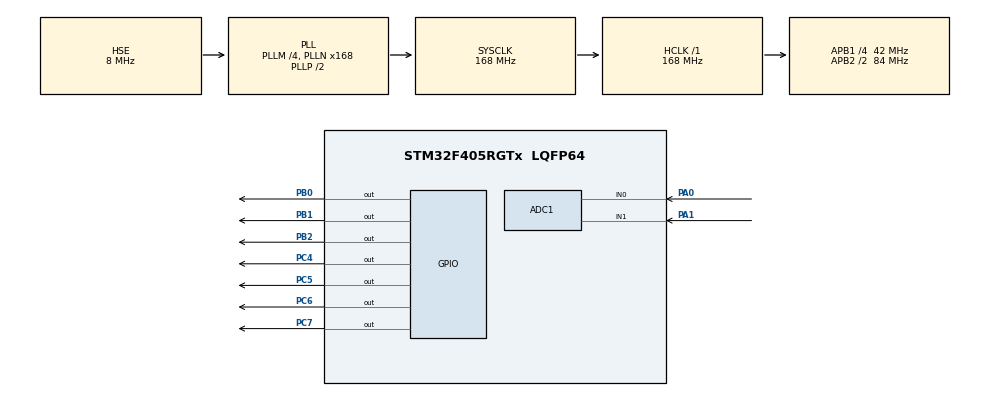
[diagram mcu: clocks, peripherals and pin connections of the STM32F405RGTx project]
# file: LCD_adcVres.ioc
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ADC1.Channel-2\#ChannelRegularConversion=ADC_CHANNEL_0
ADC1.Channel-3\#ChannelRegularConversion=ADC_CHANNEL_1
ADC1.ContinuousConvMode=ENABLE
ADC1.DMAContinuousRequests=ENABLE
ADC1.NbrOfConversion=2
ADC1.NbrOfConversionFlag=1
ADC1.Rank-2\#ChannelRegularConversion=1
ADC1.Rank-3\#ChannelRegularConversion=2
ADC1.SamplingTime-2\#ChannelRegularConversion=ADC_SAMPLETIME_56CYCLES
ADC1.SamplingTime-3\#ChannelRegularConversion=ADC_SAMPLETIME_56CYCLES
ADC1.ScanConvMode=ENABLE
ADC1.master=1
Dma.ADC1.0.Direction=DMA_PERIPH_TO_MEMORY
Dma.ADC1.0.FIFOMode=DMA_FIFOMODE_DISABLE
Dma.ADC1.0.Instance=DMA2_Stream0
Dma.ADC1.0.MemDataAlignment=DMA_MDATAALIGN_HALFWORD
Dma.ADC1.0.MemInc=DMA_MINC_ENABLE
Dma.ADC1.0.Mode=DMA_CIRCULAR
Dma.ADC1.0.PeriphDataAlignment=DMA_PDATAALIGN_HALFWORD
Dma.ADC1.0.PeriphInc=DMA_PINC_DISABLE
Dma.ADC1.0.Priority=DMA_PRIORITY_LOW
Dma.Request0=ADC1
Mcu.Family=STM32F4
Mcu.Name=STM32F405RGTx
Mcu.Package=LQFP64
NVIC.DMA2_Stream0_IRQn=true\:0\:0\:false\:false\:true\:false\:true
NVIC.PriorityGroup=NVIC_PRIORITYGROUP_4
PA0-WKUP.Signal=ADCx_IN0
PA1.Signal=ADCx_IN1
PA13.Mode=Serial_Wire
PA13.Signal=SYS_JTMS-SWDIO
PA14.Mode=Serial_Wire
PA14.Signal=SYS_JTCK-SWCLK
PB0.Signal=GPIO_Output
PB1.Signal=GPIO_Output
PB2.Signal=GPIO_Output
PC4.Signal=GPIO_Output
PC5.Signal=GPIO_Output
PC6.Signal=GPIO_Output
PC7.Signal=GPIO_Output
PH0-OSC_IN.Mode=HSE-External-Oscillator
PH0-OSC_IN.Signal=RCC_OSC_IN
PH1-OSC_OUT.Mode=HSE-External-Oscillator
PH1-OSC_OUT.Signal=RCC_OSC_OUT
ProjectManager.HeapSize=0x200
ProjectManager.StackSize=0x400
ProjectManager.TargetToolchain=EWARM V8.32
RCC.48MHZClocksFreq_Value=84000000
RCC.AHBFreq_Value=168000000
RCC.APB1CLKDivider=RCC_HCLK_DIV4
RCC.APB1Freq_Value=42000000
RCC.APB1TimFreq_Value=84000000
RCC.APB2CLKDivider=RCC_HCLK_DIV2
RCC.APB2Freq_Value=84000000
RCC.APB2TimFreq_Value=168000000
RCC.CortexFreq_Value=168000000
RCC.HCLKFreq_Value=168000000
RCC.HSE_VALUE=8000000
RCC.HSI_VALUE=16000000
RCC.LSE_VALUE=32768
RCC.PLLM=4
RCC.PLLN=168
RCC.PLLSourceVirtual=RCC_PLLSOURCE_HSE
RCC.SYSCLKFreq_VALUE=168000000
RCC.SYSCLKSource=RCC_SYSCLKSOURCE_PLLCLK
RCC.VCOOutputFreq_Value=336000000
SH.ADCx_IN0.0=ADC1_IN0,IN0
SH.ADCx_IN1.0=ADC1_IN1,IN1
board=custom

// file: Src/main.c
/* USER CODE BEGIN Header */
/**
  ******************************************************************************
  * @file           : main.c
  * @brief          : Main program body
  ******************************************************************************
  * @attention
  *
  * <h2><center>&copy; Copyright (c) 2020 STMicroelectronics.
  * All rights reserved.</center></h2>
  *
  * This software component is licensed by ST under BSD 3-Clause license,
  * the "License"; You may not use this file except in compliance with the
  * License. You may obtain a copy of the License at:
  *                        opensource.org/licenses/BSD-3-Clause
  *
  ******************************************************************************
  */
/* USER CODE END Header */

#include "main.h"
#include "adc.h"
#include "dma.h"
#include "gpio.h"

/* USER CODE BEGIN Includes */
#include "lcd.h"
#include "stdio.h"
/* USER CODE END Includes */

/* USER CODE BEGIN PV */
uint16_t adcData[2];
float v_temp = 0;
char str[10];
char str2[10];
/* USER CODE END PV */

void SystemClock_Config(void);

int main(void)
{

  /* MCU Configuration--------------------------------------------------------*/

  /* Reset of all peripherals, Initializes the Flash interface and the Systick. */
  HAL_Init();

  /* Configure the system clock */
  SystemClock_Config();

  /* Initialize all configured peripherals */
  MX_GPIO_Init();
  MX_DMA_Init();
  MX_ADC1_Init();
  /* USER CODE BEGIN 2 */
  HAL_ADC_Start_DMA(&hadc1, (uint32_t*)&adcData, sizeof(adcData)); // ADC Start
  /* USER CODE END 2 */

  /* Infinite loop */
  /* USER CODE BEGIN WHILE */
  while (1)
  {
    lcdClear();
    lcdGotoXY(0, 0);
    sprintf(str, "ADC : %d", adcData[0]);
    lcdPrint(str);

    v_temp = (float)adcData[1] * 33 / 4095;
    sprintf(str2, "Vres : %.2f", v_temp);
    lcdGotoXY(0, 1);
    lcdPrint(str2);
    HAL_Delay(500);
    /* USER CODE END WHILE */

  }
}

void SystemClock_Config(void)
{
  RCC_OscInitTypeDef RCC_OscInitStruct = {0};
  RCC_ClkInitTypeDef RCC_ClkInitStruct = {0};

  /** Configure the main internal regulator output voltage
  */
  __HAL_RCC_PWR_CLK_ENABLE();
  __HAL_PWR_VOLTAGESCALING_CONFIG(PWR_REGULATOR_VOLTAGE_SCALE1);
  /** Initializes the CPU, AHB and APB busses clocks
  */
  RCC_OscInitStruct.OscillatorType = RCC_OSCILLATORTYPE_HSE;
  RCC_OscInitStruct.HSEState = RCC_HSE_ON;
  RCC_OscInitStruct.PLL.PLLState = RCC_PLL_ON;
  RCC_OscInitStruct.PLL.PLLSource = RCC_PLLSOURCE_HSE;
  RCC_OscInitStruct.PLL.PLLM = 4;
  RCC_OscInitStruct.PLL.PLLN = 168;
  RCC_OscInitStruct.PLL.PLLP = RCC_PLLP_DIV2;
  RCC_OscInitStruct.PLL.PLLQ = 4;
  if (HAL_RCC_OscConfig(&RCC_OscInitStruct) != HAL_OK)
  {
    Error_Handler();
  }
  /** Initializes the CPU, AHB and APB busses clocks
  */
  RCC_ClkInitStruct.ClockType = RCC_CLOCKTYPE_HCLK|RCC_CLOCKTYPE_SYSCLK
                              |RCC_CLOCKTYPE_PCLK1|RCC_CLOCKTYPE_PCLK2;
  RCC_ClkInitStruct.SYSCLKSource = RCC_SYSCLKSOURCE_PLLCLK;
  RCC_ClkInitStruct.AHBCLKDivider = RCC_SYSCLK_DIV1;
  RCC_ClkInitStruct.APB1CLKDivider = RCC_HCLK_DIV4;
  RCC_ClkInitStruct.APB2CLKDivider = RCC_HCLK_DIV2;

  if (HAL_RCC_ClockConfig(&RCC_ClkInitStruct, FLASH_LATENCY_5) != HAL_OK)
  {
    Error_Handler();
  }
}

void Error_Handler(void)
{
}

/************************ (C) COPYRIGHT STMicroelectronics *****END OF FILE****/
